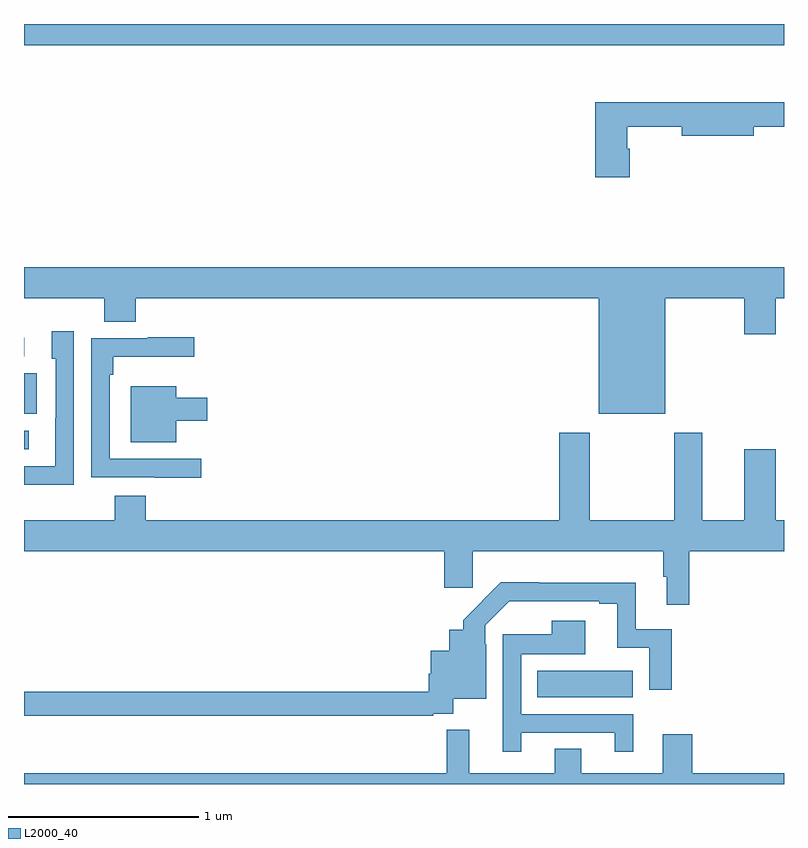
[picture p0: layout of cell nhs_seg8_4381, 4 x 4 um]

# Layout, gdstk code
import gdstk
lib = gdstk.Library(unit=1e-6, precision=1e-09)
def R(c, l, rs):  # rectangles x0, y0, x1, y1
    for r in rs: c.add(gdstk.rectangle(r[:2], r[2:], *l))
def P(c, l, *ps):  # polygons
    for p in ps: c.add(gdstk.Polygon(p, *l))
L2000_40 = (2000, 40)

nhs_seg8_4381 = lib.new_cell('nhs_seg8_4381')
R(nhs_seg8_4381, L2000_40, [(379.702,1158.356,380.203,1158.496), (377,1159.662,377.026,1159.758), (377,1159.85,377.068,1160.062), (377,1160.151,377.002,1160.249), (377,1161.788,381,1161.9)])
P(nhs_seg8_4381, L2000_40, [(380.189,1161.243),(380.176,1161.243),(380.176,1161.358),(380.462,1161.358),(380.462,1161.311),(380.842,1161.311),(380.842,1161.358),(381,1161.358),(381,1161.487),(380.006,1161.487),(380.006,1161.093),(380.189,1161.093)],
  [(380.374,1160.456),(380.792,1160.456),(380.792,1160.268),(380.956,1160.268),(380.956,1160.456),(381,1160.456),(381,1160.62),(377,1160.62),(377,1160.456),(377.423,1160.456),(377.423,1160.332),(377.588,1160.332),(377.588,1160.456),(380.024,1160.456),(380.024,1159.85),(380.374,1159.85)],
  [(377.262,1160.284),(377.147,1160.284),(377.147,1160.139),(377.166,1160.139),(377.166,1159.826),(377.165,1159.826),(377.165,1159.572),(377,1159.572),(377,1159.475),(377.262,1159.475)],
  [(377.932,1159.611),(377.451,1159.611),(377.451,1160.054),(377.471,1160.054),(377.471,1160.15),(377.896,1160.15),(377.896,1160.251),(377.651,1160.251),(377.651,1160.247),(377.355,1160.247),(377.355,1159.515),(377.687,1159.515),(377.687,1159.511),(377.932,1159.511)],
  [(377.8,1159.811),(377.965,1159.811),(377.965,1159.933),(377.8,1159.933),(377.8,1159.993),(377.561,1159.993),(377.561,1159.7),(377.8,1159.7)],
  [(380.501,1159.124),(381,1159.124),(381,1159.288),(380.956,1159.288),(380.956,1159.663),(380.792,1159.663),(380.792,1159.288),(380.569,1159.288),(380.569,1159.75),(380.422,1159.75),(380.422,1159.288),(379.977,1159.288),(379.977,1159.75),(379.817,1159.75),(379.817,1159.288),(377.642,1159.288),(377.642,1159.417),(377.477,1159.417),(377.477,1159.288),(377,1159.288),(377,1159.124),(379.211,1159.124),(379.211,1158.933),(379.361,1158.933),(379.361,1159.124),(380.365,1159.124),(380.365,1158.992),(380.384,1158.992),(380.384,1158.843),(380.501,1158.843)],
  [(379.154,1158.27),(379.258,1158.27),(379.258,1158.35),(379.432,1158.35),(379.432,1158.635),(379.428,1158.635),(379.428,1158.735),(379.554,1158.861),(380.027,1158.861),(380.027,1158.849),(380.123,1158.849),(380.123,1158.618),(380.292,1158.618),(380.292,1158.396),(380.408,1158.396),(380.408,1158.714),(380.221,1158.714),(380.221,1158.958),(379.709,1158.958),(379.709,1158.961),(379.51,1158.961),(379.313,1158.763),(379.313,1158.712),(379.238,1158.712),(379.238,1158.601),(379.142,1158.601),(379.142,1158.48),(379.13,1158.48),(379.13,1158.386),(377,1158.386),(377,1158.258),(379.154,1158.258)],
  [(379.618,1158.171),(380.108,1158.171),(380.108,1158.069),(380.206,1158.069),(380.206,1158.267),(379.617,1158.267),(379.617,1158.584),(379.954,1158.584),(379.954,1158.76),(379.778,1158.76),(379.778,1158.688),(379.521,1158.688),(379.521,1158.069),(379.618,1158.069)],
  [(381,1157.956),(380.516,1157.956),(380.516,1158.163),(380.363,1158.163),(380.363,1157.956),(379.933,1157.956),(379.933,1158.086),(379.793,1158.086),(379.793,1157.956),(379.343,1157.956),(379.343,1158.185),(379.225,1158.185),(379.225,1157.956),(377,1157.956),(377,1157.9),(381,1157.9)])

lib.write_gds('nhs_seg8_4381.gds')
